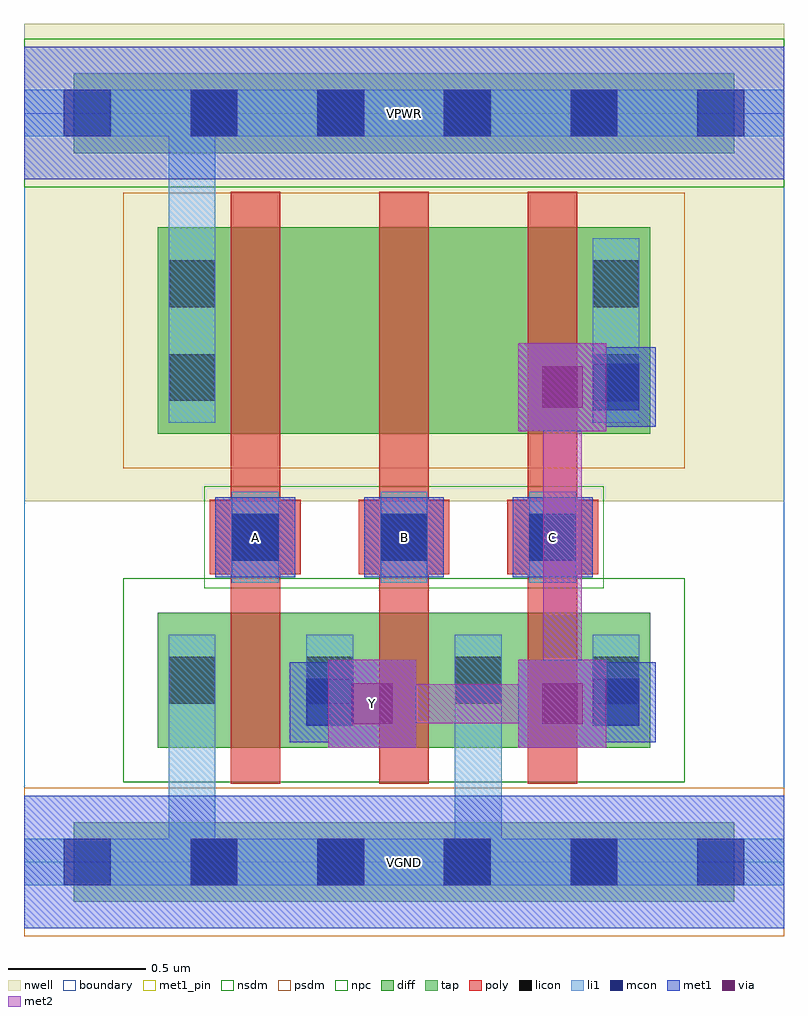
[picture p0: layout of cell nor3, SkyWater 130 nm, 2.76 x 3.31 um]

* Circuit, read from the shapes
.subckt nor3 A B C VGND VPWR Y
XM1 Y A VGND VGND sky130_fd_pr__nfet_01v8 w=0.49 l=0.18
XM2 VGND B Y VGND sky130_fd_pr__nfet_01v8 w=0.49 l=0.18
XM3 Y C VGND VGND sky130_fd_pr__nfet_01v8 w=0.49 l=0.18
XM4 n1 A VPWR VPWR sky130_fd_pr__pfet_01v8 w=0.75 l=0.18
XM5 n2 B n1 VPWR sky130_fd_pr__pfet_01v8 w=0.75 l=0.18
XM6 Y C n2 VPWR sky130_fd_pr__pfet_01v8 w=0.75 l=0.18
.ends

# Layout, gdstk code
import gdstk
lib = gdstk.Library(unit=1e-6, precision=1e-09)
def R(c, l, rs):  # rectangles x0, y0, x1, y1
    for r in rs: c.add(gdstk.rectangle(r[:2], r[2:], *l))
def A(c, l, x, y, w, h, nx, ny, dx, dy):  # array of equal rectangles
    R(c, l, [(x+i*dx, y+j*dy, x+i*dx+w, y+j*dy+h) for i in range(nx) for j in range(ny)])
nwell = (64, 20)
diff = (65, 20)
tap = (65, 44)
poly = (66, 20)
licon = (66, 44)
li1 = (67, 20)
mcon = (67, 44)
met1_pin = (68, 16)
met1 = (68, 20)
via = (68, 44)
met2 = (69, 20)
nsdm = (93, 44)
psdm = (94, 20)
npc = (95, 20)
boundary = (235, 4)

nor3 = lib.new_cell('nor3')
R(nor3, nwell, [(0,1.31,2.76,3.045)])
R(nor3, diff, [(0.485,0.415,2.275,0.905), (0.485,1.555,2.275,2.305)])
R(nor3, tap, [(0.18,-0.145,2.58,0.145), (0.18,2.575,2.58,2.865)])
A(nor3, poly, 0.75, 0.285, 0.18, 2.15, 3, 1, 0.54, 0)
A(nor3, poly, 0.675, 1.045, 0.33, 0.27, 3, 1, 0.54, 0)
A(nor3, licon, 0.605, -0.085, 0.17, 0.17, 4, 2, 0.46, 2.72)
A(nor3, licon, 0.755, 1.095, 0.17, 0.17, 3, 1, 0.54, 0)
R(nor3, licon, [(0.525,0.575,0.695,0.745), (1.025,0.575,1.195,0.745), (1.565,0.575,1.735,0.745), (2.065,0.575,2.235,0.745), (0.525,1.675,0.695,1.845), (2.065,1.675,2.235,1.845), (0.525,2.015,0.695,2.185), (2.065,2.015,2.235,2.185)])
A(nor3, li1, 0.755, 1.015, 0.17, 0.33, 3, 1, 0.54, 0)
R(nor3, li1, [(0,-0.085,2.76,0.085), (0.525,-0.085,0.695,0.825), (1.565,-0.085,1.735,0.825), (0.525,0.495,0.695,0.825), (1.025,0.495,1.195,0.825), (1.565,0.495,1.735,0.825), (2.065,0.495,2.235,0.825), (0.525,1.595,0.695,2.265), (0.525,1.595,0.695,2.805), (2.065,1.595,2.235,2.265), (0,2.635,2.76,2.805)])
A(nor3, mcon, 0.145, -0.085, 0.17, 0.17, 6, 2, 0.46, 2.72)
A(nor3, mcon, 0.755, 1.095, 0.17, 0.17, 3, 1, 0.54, 0)
R(nor3, mcon, [(1.025,0.495,1.195,0.665), (2.065,0.495,2.235,0.665), (2.065,1.64,2.235,1.81)])
A(nor3, met1_pin, 0.695, 1.035, 0.29, 0.29, 3, 1, 0.54, 0)
R(nor3, met1_pin, [(0,-0.24,2.76,0.24), (1.105,0.415,1.425,0.735), (0,2.48,2.76,2.96)])
A(nor3, met1, 0.695, 1.035, 0.29, 0.29, 3, 1, 0.54, 0)
R(nor3, met1, [(0,-0.24,2.76,0.24), (1.105,0.415,1.425,0.735), (1.795,0.415,2.115,0.735), (0.965,0.435,1.255,0.725), (2.005,0.435,2.295,0.725), (1.195,0.505,1.335,0.65), (1.885,0.505,2.025,0.65), (1.04,0.51,1.335,0.65), (1.885,0.51,2.22,0.65), (1.795,1.565,2.115,1.885), (2.005,1.58,2.295,1.87), (1.885,1.655,2.22,1.795), (0,2.48,2.76,2.96)])
R(nor3, via, [(1.19,0.5,1.34,0.65), (1.88,0.5,2.03,0.65), (1.88,1.65,2.03,1.8)])
R(nor3, met2, [(1.105,0.415,1.425,0.735), (1.795,0.415,2.115,0.735), (1.195,0.505,2.025,0.645), (1.885,0.505,2.025,1.795), (1.795,1.565,2.115,1.885)])
R(nor3, nsdm, [(0.36,0.29,2.4,1.03), (0,2.45,2.76,2.99)])
R(nor3, psdm, [(0,-0.27,2.76,0.27), (0.36,1.43,2.4,2.43)])
R(nor3, npc, [(0.655,0.995,2.105,1.365)])
R(nor3, boundary, [(0,0,2.76,2.72)])
nor3.add(gdstk.Label('A', (0.84,1.18), layer=68, texttype=5))
nor3.add(gdstk.Label('B', (1.38,1.18), layer=68, texttype=5))
nor3.add(gdstk.Label('C', (1.92,1.18), layer=68, texttype=5))
nor3.add(gdstk.Label('Y', (1.265,0.575), layer=68, texttype=5))
nor3.add(gdstk.Label('VPWR', (1.38,2.72), layer=68, texttype=5))
nor3.add(gdstk.Label('VGND', (1.38,0), layer=68, texttype=5))
nor3.add(gdstk.Label('A', (0.84,1.18), layer=68, texttype=16))
nor3.add(gdstk.Label('B', (1.38,1.18), layer=68, texttype=16))
nor3.add(gdstk.Label('C', (1.92,1.18), layer=68, texttype=16))
nor3.add(gdstk.Label('Y', (1.265,0.575), layer=68, texttype=16))
nor3.add(gdstk.Label('VPWR', (1.38,2.72), layer=68, texttype=16))
nor3.add(gdstk.Label('VGND', (1.38,0), layer=68, texttype=16))

lib.write_gds('nor3.gds')
